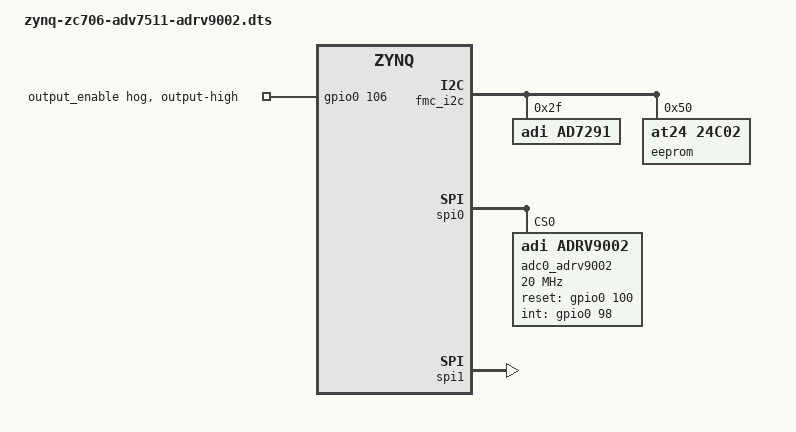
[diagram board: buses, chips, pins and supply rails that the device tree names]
/dts-v1/;

/include/ "zynq-zc706.dtsi"
/include/ "zynq-zc706-adv7511.dtsi"


/ {
	clocks {
		adrv9002_clkin: clock@0 {
			compatible = "fixed-clock";

			clock-frequency = <40000000>;
			clock-output-names = "adrv9002_ext_refclk";
			#clock-cells = <0>;
		};
	};
};

&i2c_mux {
	fmc_i2c: i2c@6 {
		#size-cells = <0>;
		#address-cells = <1>;
		reg = <6>;

		ad7291@2f {
			compatible = "adi,ad7291";
			reg = <0x2f>;
		};

		eeprom@50 {
			compatible = "at24,24c02";
			reg = <0x50>;
		};
	};
};

&fpga_axi  {
	rx1_dma: dma@44a30000 {
		compatible = "adi,axi-dmac-1.00.a";
		reg = <0x44A30000 0x10000>;
		#dma-cells = <1>;
		interrupts = <0 57 0>;
		clocks = <&clkc 16>;

		adi,channels {
			#size-cells = <0>;
			#address-cells = <1>;

			dma-channel@0 {
				reg = <0>;
				adi,source-bus-width = <64>;
				adi,source-bus-type = <2>;
				adi,destination-bus-width = <64>;
				adi,destination-bus-type = <0>;
			};
		};
	};

	rx2_dma: dma@44a40000 {
		compatible = "adi,axi-dmac-1.00.a";
		reg = <0x44A40000 0x10000>;
		#dma-cells = <1>;
		interrupts = <0 56 0>;
		clocks = <&clkc 16>;

		adi,channels {
			#size-cells = <0>;
			#address-cells = <1>;

			dma-channel@0 {
				reg = <0>;
				adi,source-bus-width = <64>;
				adi,source-bus-type = <2>;
				adi,destination-bus-width = <64>;
				adi,destination-bus-type = <0>;
			};
		};
	};


	tx1_dma: dma@44a50000 {
		compatible = "adi,axi-dmac-1.00.a";
		reg = <0x44A50000 0x10000>;
		#dma-cells = <1>;
		interrupts = <0 55 0>;
		clocks = <&clkc 16>;

		adi,channels {
			#size-cells = <0>;
			#address-cells = <1>;

			dma-channel@0 {
				reg = <0>;
				adi,source-bus-width = <64>;
				adi,source-bus-type = <0>;
				adi,destination-bus-width = <64>;
				adi,destination-bus-type = <2>;
			};
		};
	};

	tx2_dma: dma@44a60000 {
		compatible = "adi,axi-dmac-1.00.a";
		reg = <0x44A60000 0x10000>;
		#dma-cells = <1>;
		interrupts = <0 54 0>;
		clocks = <&clkc 16>;

		adi,channels {
			#size-cells = <0>;
			#address-cells = <1>;

			dma-channel@0 {
				reg = <0>;
				adi,source-bus-width = <64>;
				adi,source-bus-type = <0>;
				adi,destination-bus-width = <64>;
				adi,destination-bus-type = <2>;
			};
		};
	};

	axi_adrv9002_core_rx1: axi-adrv9002-rx1-lpc@44a00000 {
		compatible = "adi,axi-ad9643-6.00.a";
		//compatible = "adi,axi-adrv9002-1.00.a";
		reg = <0x44A08000 0x8000>;
		clocks = <&adc0_adrv9002 0>;
		dmas = <&rx1_dma 0>;
		dma-names = "rx";

		spibus-connected = <&adc0_adrv9002>;
	};

	axi_adrv9002_core_rx2: axi-adrv9002-rx2-lpc@44a02000 {
		compatible = "adi,axi-adrv9009-obs-single-1.0";
		//compatible = "adi,axi-adrv9002-1.00.a";
		reg = <0x44A01000 0x1000>;
		clocks = <&adc0_adrv9002 1>;
		clock-names = "sampl_clk";
		dmas = <&rx2_dma 0>;
		dma-names = "rx";
	};

	axi_adrv9002_core_tx1: axi-adrv9002-tx1-lpc@44a04000 {
		compatible = "adi,axi-ad9364-dds-6.00.a";
		//compatible = "adi,axi-adrv9002-dds-1.00.a";
		reg = <0x44A02000 0x1000>;
		clocks = <&adc0_adrv9002 2>;
		clock-names = "sampl_clk";
		dmas = <&tx1_dma 0>;
		dma-names = "tx";
		adi,axi-dds-default-scale = <0x800>;
		adi,axi-dds-default-frequency = <2000000>;
	};

	axi_adrv9002_core_tx2: axi-adrv9002-tx2-lpc@44a08000 {
		compatible = "adi,axi-ad9364-dds-6.00.a";
		//compatible = "adi,axi-adrv9002-dds-1.00.a";
		reg = <0x44A04000 0x1000>;
		clocks = <&adc0_adrv9002 3>;
		clock-names = "sampl_clk";
		dmas = <&tx2_dma 0>;
		dma-names = "tx";
		adi,axi-dds-default-scale = <0x800>;
		adi,axi-dds-default-frequency = <2000000>;
	};

	mwipcore@43c00000 {
		compatible = "mathworks,mwipcore-axi4lite-v1.00";
		reg = <0x43C00000 0xffff>;
	};
};

&spi0 {
	status = "okay";

	adc0_adrv9002: adrv9002-phy@0 {
		compatible = "adi,adrv9002";
		reg = <0>;

		/* SPI Setup */
		//spi-cpha;
		//spi-cpol;
		spi-max-frequency = <20000000>;

		/* Clocks */
		clocks = <&adrv9002_clkin 0>;
		clock-names = "adrv9002_ext_refclk";
		clock-output-names = "rx1_sampl_clk", "rx2_sampl_clk", "tx1_sampl_clk", "tx2_sampl_clk";
		#clock-cells = <1>;

	};

};

&spi1 {
	status = "okay";
};

/*
Name		HDL	Linux
mcs		53	107
output_enable	52	106
tx2_enable	51	105
tx1_enable	50	104
rx2_enable	49	103
rx1_enable	48	102
sm_fan_tach	47	101
reset_trx	46	100
mode		45	99
gp_int		44	98
dgpio_11	43	97
dgpio_10	42	96
dgpio_9		41	95
dgpio_8		40	94
dgpio_7		39	93
dgpio_6		38	92
dgpio_5		37	91
dgpio_4		36	90
dgpio_3		35	89
dgpio_2		34	88
dgpio_1		33	87
dgpio_0		32	86
*/

&adc0_adrv9002 {
	reset-gpios = <&gpio0 100 0>;
	int-gpios = <&gpio0 98 0>;
};

&gpio0 {
	output_enable {
		gpio-hog;
		gpios = <106 0>;
		output-high;
		line-name = "output_enable";
	};
};

